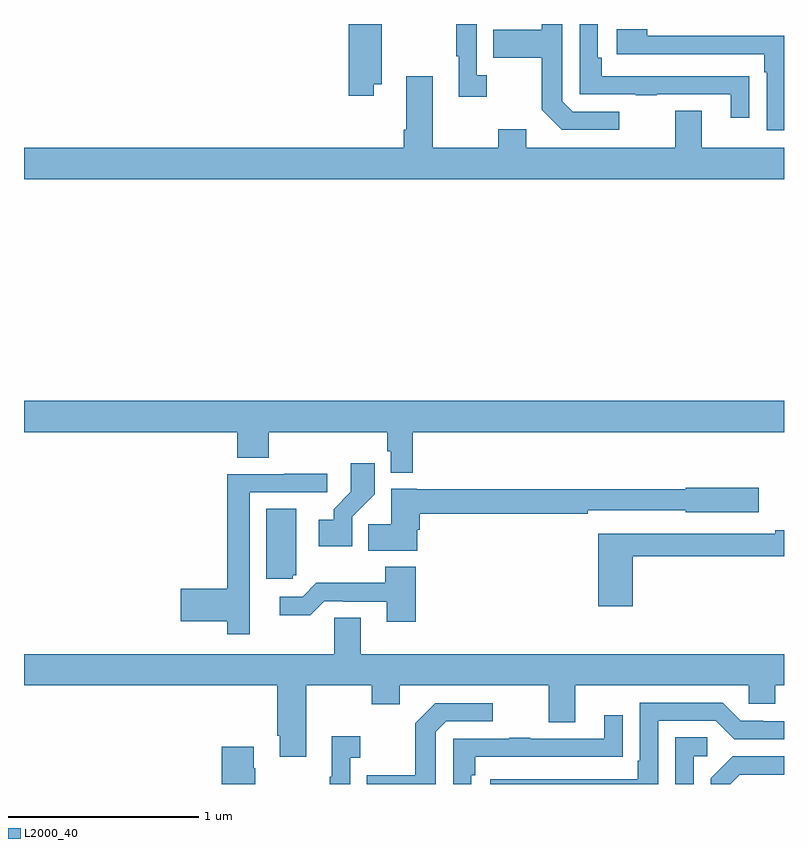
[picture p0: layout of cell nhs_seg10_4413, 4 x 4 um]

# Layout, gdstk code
import gdstk
lib = gdstk.Library(unit=1e-6, precision=1e-09)
def P(c, l, *ps):  # polygons
    for p in ps: c.add(gdstk.Polygon(p, *l))
L2000_40 = (2000, 40)

nhs_seg10_4413 = lib.new_cell('nhs_seg10_4413')
P(nhs_seg10_4413, L2000_40, [(363.436,1266.23),(363.384,1266.23),(363.384,1266.5),(363.276,1266.5),(363.276,1266.329),(363.287,1266.329),(363.287,1266.117),(363.436,1266.117)],
  [(364.132,1266.039),(363.888,1266.039),(363.834,1266.093),(363.834,1266.5),(363.726,1266.5),(363.726,1266.469),(363.469,1266.469),(363.469,1266.322),(363.726,1266.322),(363.726,1266.049),(363.831,1265.943),(364.132,1265.943)],
  [(364.817,1266.224),(364.715,1266.224),(364.715,1266.225),(364.04,1266.225),(364.04,1266.322),(364.02,1266.322),(364.02,1266.5),(363.924,1266.5),(363.924,1266.129),(364.219,1266.129),(364.219,1266.124),(364.331,1266.124),(364.331,1266.129),(364.721,1266.129),(364.721,1266.006),(364.817,1266.006)],
  [(362.842,1266.182),(362.883,1266.182),(362.883,1266.5),(362.708,1266.5),(362.708,1266.123),(362.842,1266.123)],
  [(365,1266.438),(364.28,1266.438),(364.28,1266.472),(364.119,1266.472),(364.119,1266.342),(364.895,1266.342),(364.895,1266.245),(364.908,1266.245),(364.908,1265.94),(365,1265.94)],
  [(365,1265.848),(364.567,1265.848),(364.567,1266.043),(364.427,1266.043),(364.427,1265.848),(363.643,1265.848),(363.643,1265.947),(363.496,1265.947),(363.496,1265.848),(363.151,1265.848),(363.151,1266.226),(363.011,1266.226),(363.011,1265.944),(362.999,1265.944),(362.999,1265.848),(361,1265.848),(361,1265.684),(365,1265.684)],
  [(363.047,1264.352),(365,1264.352),(365,1264.516),(361,1264.516),(361,1264.352),(362.123,1264.352),(362.123,1264.216),(362.288,1264.216),(362.288,1264.352),(362.911,1264.352),(362.911,1264.251),(362.931,1264.251),(362.931,1264.139),(363.047,1264.139)],
  [(362.727,1263.907),(362.846,1264.026),(362.846,1264.189),(362.721,1264.189),(362.721,1264.037),(362.63,1263.947),(362.63,1263.892),(362.55,1263.892),(362.55,1263.752),(362.727,1263.752)],
  [(362.188,1263.51),(362.187,1263.51),(362.187,1264.035),(362.596,1264.035),(362.596,1264.134),(362.371,1264.134),(362.371,1264.131),(362.071,1264.131),(362.071,1263.527),(361.824,1263.527),(361.824,1263.356),(362.071,1263.356),(362.071,1263.288),(362.188,1263.288)],
  [(363.07,1263.839),(363.083,1263.839),(363.083,1263.922),(363.968,1263.922),(363.968,1263.942),(364.482,1263.942),(364.482,1263.929),(364.867,1263.929),(364.867,1264.059),(364.482,1264.059),(364.482,1264.051),(363.066,1264.051),(363.066,1264.054),(362.933,1264.054),(362.933,1263.866),(362.812,1263.866),(362.812,1263.728),(363.07,1263.728)],
  [(362.415,1263.6),(362.434,1263.6),(362.434,1263.949),(362.276,1263.949),(362.276,1263.579),(362.415,1263.579)],
  [(364.205,1263.7),(365,1263.7),(365,1263.836),(364.954,1263.836),(364.954,1263.816),(364.022,1263.816),(364.022,1263.435),(364.205,1263.435)],
  [(363.062,1263.643),(362.902,1263.643),(362.902,1263.559),(362.539,1263.559),(362.466,1263.486),(362.346,1263.486),(362.346,1263.389),(362.507,1263.389),(362.58,1263.462),(362.68,1263.462),(362.68,1263.459),(362.909,1263.459),(362.909,1263.354),(363.062,1263.354)],
  [(362.485,1263.02),(362.83,1263.02),(362.83,1262.921),(362.977,1262.921),(362.977,1263.02),(363.761,1263.02),(363.761,1262.826),(363.901,1262.826),(363.901,1263.02),(364.815,1263.02),(364.815,1262.922),(364.953,1262.922),(364.953,1263.02),(365,1263.02),(365,1263.184),(362.773,1263.184),(362.773,1263.374),(362.634,1263.374),(362.634,1263.184),(361,1263.184),(361,1263.02),(362.333,1263.02),(362.333,1262.755),(362.345,1262.755),(362.345,1262.643),(362.485,1262.643)],
  [(364.338,1262.832),(364.641,1262.832),(364.737,1262.736),(365,1262.736),(365,1262.829),(364.892,1262.829),(364.892,1262.832),(364.773,1262.832),(364.677,1262.928),(364.242,1262.928),(364.242,1262.623),(364.229,1262.623),(364.229,1262.526),(363.453,1262.526),(363.453,1262.5),(364.338,1262.5)],
  [(363.168,1262.775),(363.222,1262.829),(363.466,1262.829),(363.466,1262.925),(363.165,1262.925),(363.06,1262.819),(363.06,1262.547),(362.803,1262.547),(362.803,1262.5),(363.168,1262.5)],
  [(363.354,1262.546),(363.374,1262.546),(363.374,1262.643),(364.049,1262.643),(364.049,1262.644),(364.151,1262.644),(364.151,1262.863),(364.055,1262.863),(364.055,1262.739),(363.665,1262.739),(363.665,1262.744),(363.553,1262.744),(363.553,1262.739),(363.258,1262.739),(363.258,1262.5),(363.354,1262.5)],
  [(362.718,1262.639),(362.77,1262.639),(362.77,1262.752),(362.621,1262.752),(362.621,1262.539),(362.61,1262.539),(362.61,1262.5),(362.718,1262.5)],
  [(364.524,1262.646),(364.597,1262.646),(364.597,1262.747),(364.428,1262.747),(364.428,1262.5),(364.524,1262.5)],
  [(362.217,1262.582),(362.209,1262.582),(362.209,1262.695),(362.042,1262.695),(362.042,1262.5),(362.217,1262.5)],
  [(364.768,1262.55),(365,1262.55),(365,1262.646),(364.73,1262.646),(364.614,1262.53),(364.614,1262.5),(364.718,1262.5)])

lib.write_gds('nhs_seg10_4413.gds')
